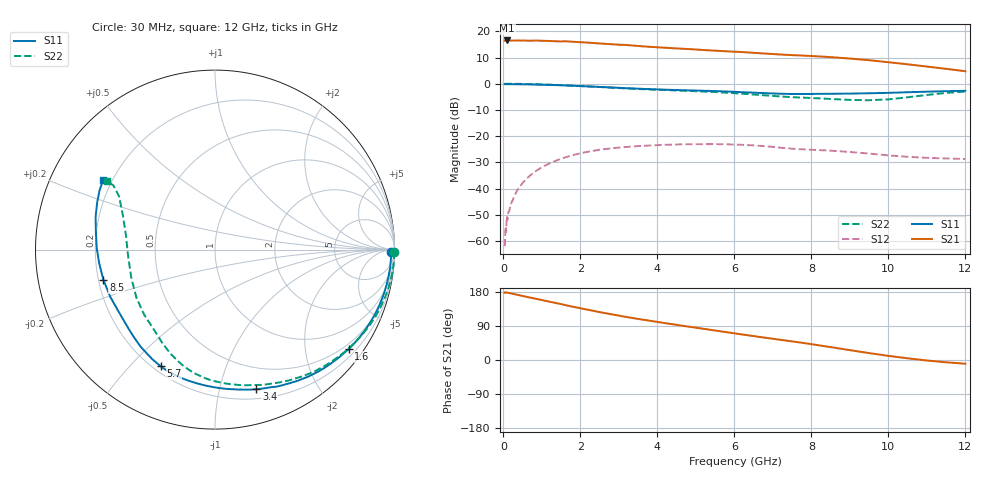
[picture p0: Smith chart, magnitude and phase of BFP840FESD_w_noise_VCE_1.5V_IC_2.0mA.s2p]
! (c) 2012  Infineon Technologies AG, Munich
! Infineon Technologies  Discrete & RF Semiconductors
! BFP840FESD
! VCE =  1.5 V,  IC =  2.0 mA
! Common Emitter S-Parameters:  May 2012
# GHz  S  MA  R  50
!  f  S11  S21  S12  S22
! GHz  MAG  ANG  MAG  ANG  MAG  ANG  MAG  ANG
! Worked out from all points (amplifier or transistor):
!   103 points, 30 MHz to 12 GHz, reference 50 ohm
!   highest |S21| = 16.5 dB at 100 MHz (marker M1)
!   |S21| within 3 dB of that: start of sweep to 4.443 GHz
!   unconditionally stable (mu >= 1): 8.295 GHz to end of sweep
!   at 400 MHz: K = 0.02, MSG = 28.1 dB, |S12| = -39.7 dB
!   at 3.7 GHz: K = 0.22, MSG = 18.9 dB, |S12| = -23.6 dB
!   at 12 GHz: K = 1.56, MAG = 12.3 dB, |S12| = -28.7 dB
!   lowest NFmin = 0.53 dB at 450 MHz
!   S11 on the Smith chart (normalised r, x): 30 MHz: 76, -51; 1.6 GHz: 0.37, -2.98; 3.4 GHz: 0.29, -1.30; 5.7 GHz: 0.23, -0.61; 8.5 GHz: 0.22, -0.13; 12 GHz: 0.17, +0.28
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0.03  0.982 -0.7  6.638 177.4  0.0008 76.7  0.9993 -0.7
0.04  0.9819 -0.9  6.625 177.3  0.0009 85.6  0.9992 -0.9
0.05  0.9813 -1.2  6.643 178.6  0.0017 93.0  0.9998 -1.1
0.07  0.981 -1.6  6.655 178.4  0.0015 74.8  0.999 -1.4
0.09  0.9809 -2.1  6.68 177.8  0.003 89.9  0.9993 -1.8
0.1  0.9819 -2.3  6.696 177.7  0.0025 84.2  0.9991 -2.1
0.2  0.9808 -4.6  6.654 175.6  0.0052 84.9  0.9986 -4.2
0.5  0.9758 -11.5  6.673 169.0  0.0129 81.2  0.9923 -10.5
0.9  0.9639 -20.6  6.653 160.3  0.0231 73.8  0.977 -18.9
1.6  0.9288 -36.6  6.463 145.1  0.0393 60.3  0.9343 -34.0
2.1  0.897 -47.4  6.146 134.5  0.049 51.0  0.8973 -44.8
2.7  0.8562 -59.8  5.739 122.6  0.0576 40.6  0.8508 -56.9
3.4  0.8108 -73.5  5.33 110.0  0.064 30.3  0.8021 -69.7
4.1  0.776 -86.4  4.911 98.9  0.0682 21.7  0.7638 -80.6
4.9  0.7454 -101.3  4.55 86.8  0.0704 12.7  0.7267 -92.2
5.7  0.7165 -115.0  4.195 74.8  0.0703 4.0  0.6816 -103.0
6.1  0.6958 -121.9  4.06 68.8  0.069 -0.1  0.6538 -108.6
7.2  0.6458 -140.9  3.614 53.2  0.0604 -9.0  0.5726 -124.4
8.5  0.6442 -164.9  3.223 34.0  0.053 -10.9  0.5133 -148.5
9.5  0.6589 179.4  2.812 18.2  0.0466 -12.1  0.4853 -175.3
10.5  0.6893 164.8  2.35 4.5  0.0405 -7.5  0.5527 158.7
12  0.734 148.3  1.734 -9.9  0.0368 6.0  0.7113 147.7
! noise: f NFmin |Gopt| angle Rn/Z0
0.45  0.53  0.68  7  0.31
0.9  0.58  0.66  13  0.29
1.5  0.65  0.62  21  0.26
1.9  0.68  0.58  29  0.26
2.4  0.72  0.56  36  0.26
3.5  0.75  0.53  55  0.24
5.5  0.89  0.4  89  0.18
8  1.18  0.35  149  0.13
10  1.43  0.38  -169  0.11
12  1.63  0.52  -136  0.14
